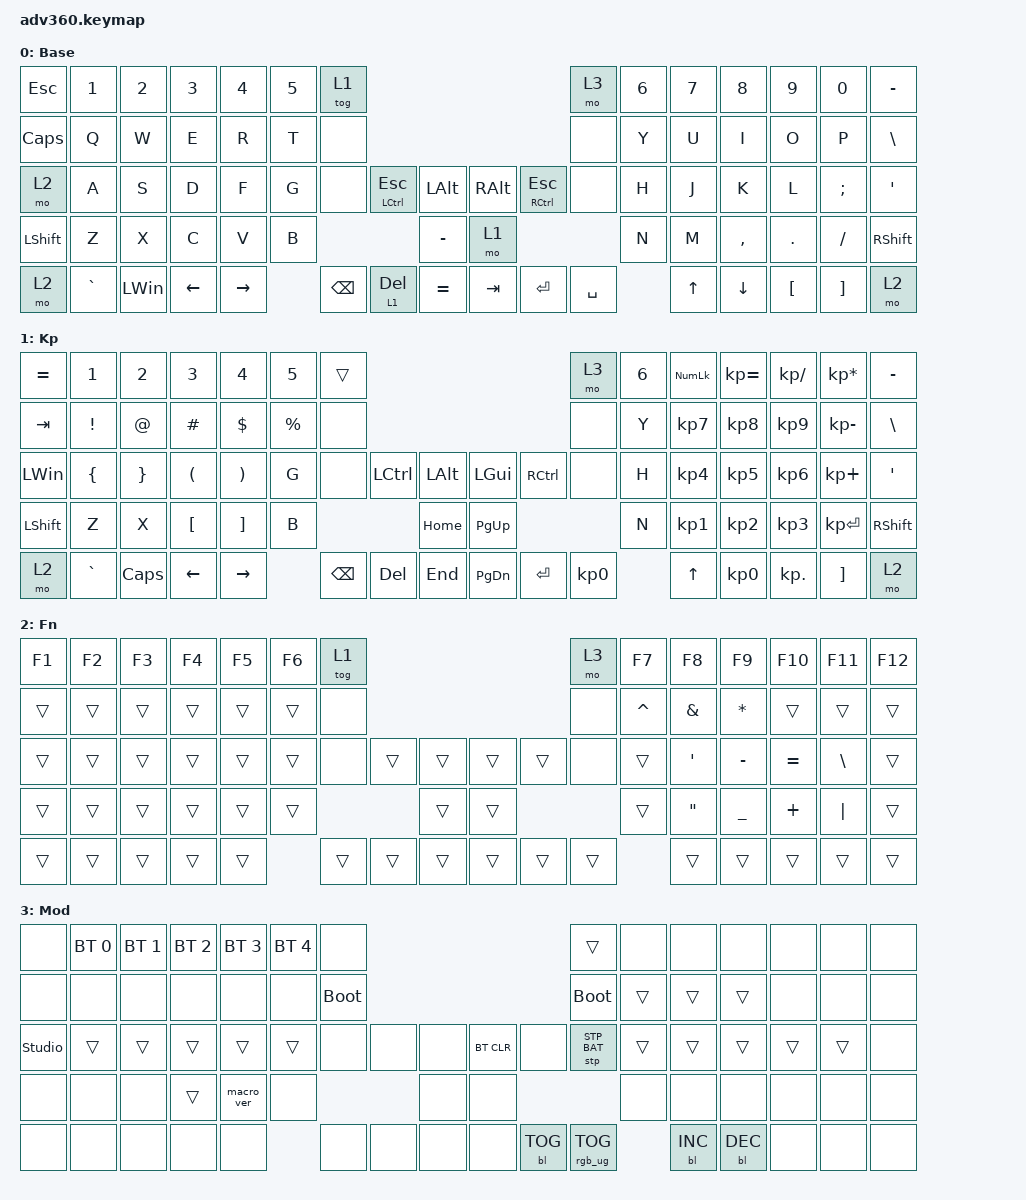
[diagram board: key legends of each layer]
#include <dt-bindings/zmk/stp.h>
#include <behaviors.dtsi>
#include <dt-bindings/zmk/backlight.h>
#include <dt-bindings/zmk/bt.h>
#include <dt-bindings/zmk/keys.h>
#include <dt-bindings/zmk/rgb.h>

/ {
    behaviors {
        #include "macros.dtsi"
      #include "version.dtsi"

        hm: homerow_mods {
            compatible = "zmk,behavior-hold-tap";
            label = "HOMEROW_MODS";
            #binding-cells = <2>;
            tapping-term-ms = <200>;
            quick_tap_ms = <175>;
            flavor = "tap-preferred";
            bindings = <&kp>, <&kp>;
        };

        holdtap: holdtap {
            compatible = "zmk,behavior-hold-tap";
            label = "HOLDTAP";
            bindings = <&kp>, <&kp>;

            #binding-cells = <2>;
            tapping-term-ms = <100>;
            flavor = "balanced";
        };
    };

    keymap {
        compatible = "zmk,keymap";

        default_layer {
            display-name = "Base";
            bindings = <
&kp ESCAPE  &kp N1     &kp N2        &kp N3    &kp N4     &kp N5  &tog 1                                                                                &mo 3      &kp N6  &kp N7  &kp N8     &kp N9            &kp N0    &kp MINUS
&kp CLCK    &kp Q      &kp W         &kp E     &kp R      &kp T   &none                                                                                 &none      &kp Y   &kp U   &kp I      &kp O             &kp P     &kp BSLH
&mo 2       &kp A      &kp S         &kp D     &kp F      &kp G   &none     &hm LEFT_CONTROL ESCAPE  &kp LEFT_ALT      &kp RIGHT_ALT  &hm RCTRL ESCAPE  &none      &kp H   &kp J   &kp K      &kp L             &kp SEMI  &kp SINGLE_QUOTE
&kp LSHFT   &kp Z      &kp X         &kp C     &kp V      &kp B                                      &kp MINUS         &mo 1                                       &kp N   &kp M   &kp COMMA  &kp DOT           &kp FSLH  &kp RSHFT
&mo 2       &kp GRAVE  &kp LEFT_WIN  &kp LEFT  &kp RIGHT          &kp BSPC  &lt 1 DELETE             &kp EQUAL         &kp TAB        &kp ENTER         &kp SPACE          &kp UP  &kp DOWN   &kp LEFT_BRACKET  &kp RBKT  &mo 2
            >;
        };

        keypad {
            display-name = "Kp";
            bindings = <
&kp EQUAL     &kp N1          &kp N2           &kp N3                &kp N4                 &kp N5       &trans                                                   &mo 3      &kp N6  &kp KP_NUM  &kp KP_EQUAL  &kp KP_DIVIDE  &kp KP_MULTIPLY  &kp MINUS
&kp TAB       &kp EXCL        &kp AT           &kp HASH              &kp DOLLAR             &kp PERCENT  &none                                                    &none      &kp Y   &kp KP_N7   &kp KP_N8     &kp KP_N9      &kp KP_MINUS     &kp BSLH
&kp LEFT_WIN  &kp LEFT_BRACE  &kp RIGHT_BRACE  &kp LEFT_PARENTHESIS  &kp RIGHT_PARENTHESIS  &kp G        &none     &kp LCTRL  &kp LALT      &kp LGUI   &kp RCTRL  &none      &kp H   &kp KP_N4   &kp KP_N5     &kp KP_N6      &kp KP_PLUS      &kp SQT
&kp LSHFT     &kp Z           &kp X            &kp LEFT_BRACKET      &kp RIGHT_BRACKET      &kp B                             &kp HOME      &kp PG_UP                        &kp N   &kp KP_N1   &kp KP_N2     &kp KP_N3      &kp KP_ENTER     &kp RSHFT
&mo 2         &kp GRAVE       &kp CAPS         &kp LEFT              &kp RIGHT                           &kp BSPC  &kp DEL    &kp END       &kp PG_DN  &kp ENTER  &kp KP_N0          &kp UP      &kp KP_N0     &kp KP_DOT     &kp RBKT         &mo 2
            >;
        };

        fn {
            display-name = "Fn";
            bindings = <
&kp F1  &kp F2  &kp F3  &kp F4  &kp F5  &kp F6  &tog 1                                      &mo 3   &kp F7     &kp F8             &kp F9        &kp F10    &kp F11        &kp F12
&trans  &trans  &trans  &trans  &trans  &trans  &none                                       &none   &kp CARET  &kp AMPERSAND      &kp ASTERISK  &trans     &trans         &trans
&trans  &trans  &trans  &trans  &trans  &trans  &none   &trans  &trans      &trans  &trans  &none   &trans     &kp APOS           &kp MINUS     &kp EQUAL  &kp BACKSLASH  &trans
&trans  &trans  &trans  &trans  &trans  &trans                  &trans      &trans                  &trans     &kp DOUBLE_QUOTES  &kp UNDER     &kp PLUS   &kp PIPE       &trans
&trans  &trans  &trans  &trans  &trans          &trans  &trans  &trans      &trans  &trans  &trans             &trans             &trans        &trans     &trans         &trans
            >;
        };

        mod {
            display-name = "Mod";
            bindings = <
&none           &bt BT_SEL 0  &bt BT_SEL 1  &bt BT_SEL 2  &bt BT_SEL 3  &bt BT_SEL 4  &none                                                  &trans           &none   &none       &none       &none   &none   &none
&none           &none         &none         &none         &none         &none         &bootloader                                            &bootloader      &trans  &trans      &trans      &none   &none   &none
&studio_unlock  &trans        &trans        &trans        &trans        &trans        &none        &none  &none      &bt BT_CLR  &none       &stp STP_BAT     &trans  &trans      &trans      &trans  &trans  &none
&none           &none         &none         &trans        &macro_ver    &none                             &none      &none                                    &none   &none       &none       &none   &none   &none
&none           &none         &none         &none         &none                       &none        &none  &none      &none       &bl BL_TOG  &rgb_ug RGB_TOG          &bl BL_INC  &bl BL_DEC  &none   &none   &none
            >;
        };

        extra1 {
            display-name = "Red";
            status = "reserved";
        };

        extra2 {
            display-name = "Purple";
            status = "reserved";
        };

        extra3 {
            display-name = "Cyan";
            status = "reserved";
        };

        extra4 {
            display-name = "Yellow";
            status = "reserved";
        };
    };
};
